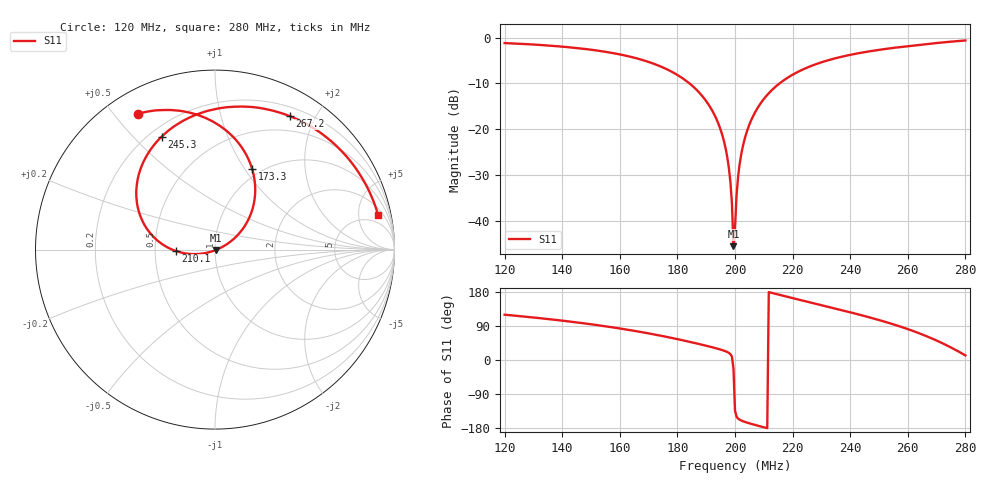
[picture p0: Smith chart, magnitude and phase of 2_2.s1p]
! COPPER MOUNTAIN TECHNOLOGIES, TR5048, 14027131, 0.7.17/2.0
! Date: 8.11.2025 10:19:58
! Data: Format [Calibration Info]
! Freq  S11: Re/Im F1
# HZ S RI R 50
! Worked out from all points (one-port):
!   301 points, 120 MHz to 280 MHz, reference 50 ohm
!   lowest |S11| = -45.4 dB at 199.5 MHz (marker M1), VSWR 1.01, Z = 50.5 - j0.204 ohm
!   |S11| at or under -10 dB: 184.2 MHz to 215.5 MHz (31.24 MHz wide, 15.6 % of centre)
!   S11 on the Smith chart (normalised r, x): 120 MHz: 0.09, +0.58; 173.3 MHz: 0.90, +1.08; 210.1 MHz: 0.64, -0.01; 245.3 MHz: 0.25, +0.61; 267.2 MHz: 0.31, +1.67; 280 MHz: 2.95, +8.39
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1.2e8  -0.4285 0.7573
1.402667e8  -0.187 0.772
1.6e8  0.0772 0.6505
1.733333e8  0.2063 0.4515
1.802667e8  0.2238 0.3155
1.893333e8  0.1687 0.136
1.925333e8  0.127 0.0817
1.952e8  0.0845 0.0432
1.973333e8  0.0463 0.0178
1.984e8  0.0259 0.00717
1.989333e8  0.0155 0.00243
1.994667e8  0.00497 -0.00202
2e8  -0.00573 -0.00601
2.005333e8  -0.0165 -0.00964
2.010667e8  -0.0274 -0.013
2.016e8  -0.0385 -0.0159
2.026667e8  -0.0608 -0.0207
2.058667e8  -0.1286 -0.0249
2.101333e8  -0.2165 -0.0084
2.202667e8  -0.3803 0.1173
2.298667e8  -0.4388 0.3073
2.4e8  -0.3796 0.5247
2.453333e8  -0.2972 0.6293
2.528e8  -0.1209 0.7453
2.602667e8  0.1288 0.7967
2.672e8  0.4183 0.7429
2.736e8  0.6998 0.5545
2.8e8  0.9081 0.195
